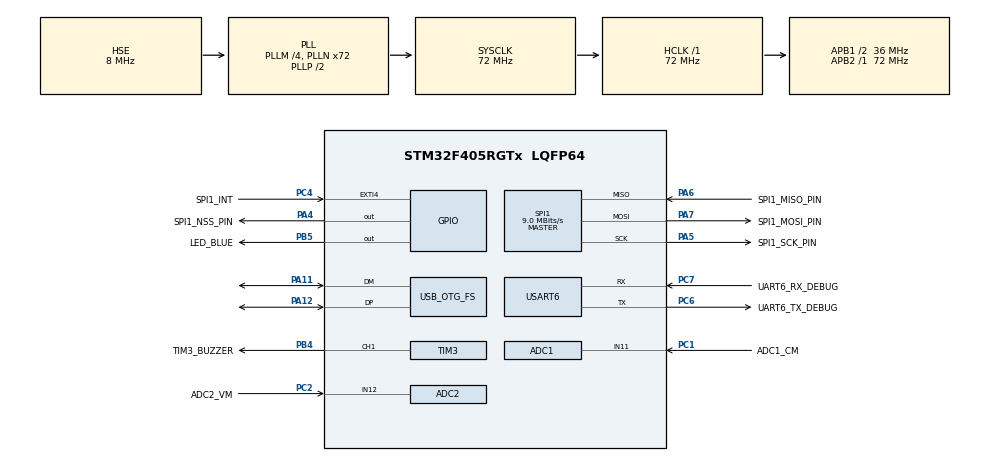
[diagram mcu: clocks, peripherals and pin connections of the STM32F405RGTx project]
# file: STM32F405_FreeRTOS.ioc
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ADC1.Channel-1\#ChannelRegularConversion=ADC_CHANNEL_11
ADC1.ContinuousConvMode=ENABLE
ADC1.DMAContinuousRequests=ENABLE
ADC1.NbrOfConversionFlag=1
ADC1.Rank-1\#ChannelRegularConversion=1
ADC1.SamplingTime-1\#ChannelRegularConversion=ADC_SAMPLETIME_480CYCLES
ADC1.master=1
ADC2.Channel-1\#ChannelRegularConversion=ADC_CHANNEL_12
ADC2.ContinuousConvMode=ENABLE
ADC2.DMAContinuousRequests=ENABLE
ADC2.NbrOfConversionFlag=1
ADC2.Rank-1\#ChannelRegularConversion=1
ADC2.SamplingTime-1\#ChannelRegularConversion=ADC_SAMPLETIME_480CYCLES
Dma.ADC1.1.Direction=DMA_PERIPH_TO_MEMORY
Dma.ADC1.1.FIFOMode=DMA_FIFOMODE_DISABLE
Dma.ADC1.1.Instance=DMA2_Stream4
Dma.ADC1.1.MemDataAlignment=DMA_MDATAALIGN_HALFWORD
Dma.ADC1.1.MemInc=DMA_MINC_ENABLE
Dma.ADC1.1.Mode=DMA_CIRCULAR
Dma.ADC1.1.PeriphDataAlignment=DMA_PDATAALIGN_HALFWORD
Dma.ADC1.1.PeriphInc=DMA_PINC_DISABLE
Dma.ADC1.1.Priority=DMA_PRIORITY_LOW
Dma.ADC2.2.Direction=DMA_PERIPH_TO_MEMORY
Dma.ADC2.2.FIFOMode=DMA_FIFOMODE_DISABLE
Dma.ADC2.2.Instance=DMA2_Stream2
Dma.ADC2.2.MemDataAlignment=DMA_MDATAALIGN_HALFWORD
Dma.ADC2.2.MemInc=DMA_MINC_ENABLE
Dma.ADC2.2.Mode=DMA_CIRCULAR
Dma.ADC2.2.PeriphDataAlignment=DMA_PDATAALIGN_HALFWORD
Dma.ADC2.2.PeriphInc=DMA_PINC_DISABLE
Dma.ADC2.2.Priority=DMA_PRIORITY_LOW
Dma.Request0=USART6_TX
Dma.Request1=ADC1
Dma.Request2=ADC2
Dma.Request3=USART6_RX
Dma.Request4=SPI1_RX
Dma.Request5=SPI1_TX
Dma.SPI1_RX.4.Direction=DMA_PERIPH_TO_MEMORY
Dma.SPI1_RX.4.FIFOMode=DMA_FIFOMODE_DISABLE
Dma.SPI1_RX.4.Instance=DMA2_Stream0
Dma.SPI1_RX.4.MemDataAlignment=DMA_MDATAALIGN_BYTE
Dma.SPI1_RX.4.MemInc=DMA_MINC_ENABLE
Dma.SPI1_RX.4.Mode=DMA_NORMAL
Dma.SPI1_RX.4.PeriphDataAlignment=DMA_PDATAALIGN_BYTE
Dma.SPI1_RX.4.PeriphInc=DMA_PINC_DISABLE
Dma.SPI1_RX.4.Priority=DMA_PRIORITY_LOW
Dma.SPI1_TX.5.Direction=DMA_MEMORY_TO_PERIPH
Dma.SPI1_TX.5.FIFOMode=DMA_FIFOMODE_DISABLE
Dma.SPI1_TX.5.Instance=DMA2_Stream3
Dma.SPI1_TX.5.MemDataAlignment=DMA_MDATAALIGN_BYTE
Dma.SPI1_TX.5.MemInc=DMA_MINC_ENABLE
Dma.SPI1_TX.5.Mode=DMA_NORMAL
Dma.SPI1_TX.5.PeriphDataAlignment=DMA_PDATAALIGN_BYTE
Dma.SPI1_TX.5.PeriphInc=DMA_PINC_DISABLE
Dma.SPI1_TX.5.Priority=DMA_PRIORITY_LOW
Dma.USART6_RX.3.Direction=DMA_PERIPH_TO_MEMORY
Dma.USART6_RX.3.FIFOMode=DMA_FIFOMODE_DISABLE
Dma.USART6_RX.3.Instance=DMA2_Stream1
Dma.USART6_RX.3.MemDataAlignment=DMA_MDATAALIGN_BYTE
Dma.USART6_RX.3.MemInc=DMA_MINC_ENABLE
Dma.USART6_RX.3.Mode=DMA_NORMAL
Dma.USART6_RX.3.PeriphDataAlignment=DMA_PDATAALIGN_BYTE
Dma.USART6_RX.3.PeriphInc=DMA_PINC_DISABLE
Dma.USART6_RX.3.Priority=DMA_PRIORITY_HIGH
Dma.USART6_TX.0.Direction=DMA_MEMORY_TO_PERIPH
Dma.USART6_TX.0.FIFOMode=DMA_FIFOMODE_DISABLE
Dma.USART6_TX.0.Instance=DMA2_Stream6
Dma.USART6_TX.0.MemDataAlignment=DMA_MDATAALIGN_BYTE
Dma.USART6_TX.0.MemInc=DMA_MINC_ENABLE
Dma.USART6_TX.0.Mode=DMA_NORMAL
Dma.USART6_TX.0.PeriphDataAlignment=DMA_PDATAALIGN_BYTE
Dma.USART6_TX.0.PeriphInc=DMA_PINC_DISABLE
Dma.USART6_TX.0.Priority=DMA_PRIORITY_HIGH
FREERTOS.INCLUDE_pcTaskGetTaskName=1
FREERTOS.INCLUDE_uxTaskGetStackHighWaterMark=1
FREERTOS.INCLUDE_uxTaskGetStackHighWaterMark2=1
FREERTOS.INCLUDE_vTaskCleanUpResources=1
FREERTOS.INCLUDE_vTaskDelayUntil=1
FREERTOS.INCLUDE_xTaskGetHandle=1
FREERTOS.INCLUDE_xTimerPendFunctionCall=1
FREERTOS.Tasks01=defaultTask,0,128,StartDefaultTask,Default,NULL,Dynamic,NULL,NULL
FREERTOS.configCHECK_FOR_STACK_OVERFLOW=1
FREERTOS.configGENERATE_RUN_TIME_STATS=1
FREERTOS.configMAX_PRIORITIES=20
FREERTOS.configTICK_RATE_HZ=1
FREERTOS.configTIMER_QUEUE_LENGTH=20
FREERTOS.configTIMER_TASK_PRIORITY=1
FREERTOS.configTIMER_TASK_STACK_DEPTH=512
FREERTOS.configUSE_APPLICATION_TASK_TAG=1
FREERTOS.configUSE_IDLE_HOOK=1
FREERTOS.configUSE_NEWLIB_REENTRANT=1
FREERTOS.configUSE_POSIX_ERRNO=1
FREERTOS.configUSE_STATS_FORMATTING_FUNCTIONS=1
FREERTOS.configUSE_TICK_HOOK=0
FREERTOS.configUSE_TIMERS=1
FREERTOS.configUSE_TRACE_FACILITY=1
Mcu.Family=STM32F4
Mcu.Name=STM32F405RGTx
Mcu.Package=LQFP64
NVIC.DMA2_Stream0_IRQn=true\:5\:0\:false\:false\:true\:true\:false\:true\:true
NVIC.DMA2_Stream1_IRQn=true\:5\:0\:false\:false\:true\:true\:false\:true\:true
NVIC.DMA2_Stream2_IRQn=true\:5\:0\:false\:false\:true\:true\:false\:true\:true
NVIC.DMA2_Stream3_IRQn=true\:5\:0\:false\:false\:true\:true\:false\:true\:true
NVIC.DMA2_Stream4_IRQn=true\:0\:0\:false\:false\:true\:false\:false\:true\:true
NVIC.DMA2_Stream6_IRQn=true\:5\:0\:false\:false\:true\:true\:false\:true\:true
NVIC.OTG_FS_IRQn=true\:5\:0\:false\:false\:true\:true\:true\:true\:true
NVIC.PriorityGroup=NVIC_PRIORITYGROUP_4
NVIC.RCC_IRQn=true\:5\:0\:false\:false\:true\:true\:true\:false\:true
NVIC.TIM7_IRQn=true\:5\:0\:false\:false\:true\:true\:true\:true\:true
NVIC.USART6_IRQn=true\:5\:0\:false\:false\:true\:true\:true\:true\:true
PA11.Mode=Device_Only
PA11.Signal=USB_OTG_FS_DM
PA12.Mode=Device_Only
PA12.Signal=USB_OTG_FS_DP
PA4.GPIO_Label=SPI1_NSS_PIN
PA4.GPIO_PuPd=GPIO_NOPULL
PA4.GPIO_Speed=GPIO_SPEED_FREQ_VERY_HIGH
PA4.PinState=GPIO_PIN_SET
PA4.Signal=GPIO_Output
PA5.GPIO_Label=SPI1_SCK_PIN
PA5.GPIO_Speed=GPIO_SPEED_FREQ_VERY_HIGH
PA5.Mode=Full_Duplex_Master
PA5.Signal=SPI1_SCK
PA6.GPIO_Label=SPI1_MISO_PIN
PA6.GPIO_Speed=GPIO_SPEED_FREQ_VERY_HIGH
PA6.Mode=Full_Duplex_Master
PA6.Signal=SPI1_MISO
PA7.GPIO_Label=SPI1_MOSI_PIN
PA7.Mode=Full_Duplex_Master
PA7.Signal=SPI1_MOSI
PB4.GPIO_Label=TIM3_BUZZER
PB4.Signal=S_TIM3_CH1
PB5.GPIO_Label=LED_BLUE
PB5.Signal=GPIO_Output
PC1.GPIO_Label=ADC1_CM
PC1.Signal=ADCx_IN11
PC2.GPIO_Label=ADC2_VM
PC2.Signal=ADCx_IN12
PC4.GPIO_Label=SPI1_INT
PC4.Signal=GPXTI4
PC6.GPIO_Label=UART6_TX_DEBUG
PC6.Mode=Asynchronous
PC6.Signal=USART6_TX
PC7.GPIO_Label=UART6_RX_DEBUG
PC7.Mode=Asynchronous
PC7.Signal=USART6_RX
PH0-OSC_IN.Mode=HSE-External-Oscillator
PH0-OSC_IN.Signal=RCC_OSC_IN
PH1-OSC_OUT.Mode=HSE-External-Oscillator
PH1-OSC_OUT.Signal=RCC_OSC_OUT
ProjectManager.HeapSize=0x200
ProjectManager.StackSize=0x400
ProjectManager.TargetToolchain=STM32CubeIDE
RCC.48MHZClocksFreq_Value=48000000
RCC.AHBFreq_Value=72000000
RCC.APB1CLKDivider=RCC_HCLK_DIV2
RCC.APB1Freq_Value=36000000
RCC.APB1TimFreq_Value=72000000
RCC.APB2Freq_Value=72000000
RCC.APB2TimFreq_Value=72000000
RCC.CortexFreq_Value=72000000
RCC.HCLKFreq_Value=72000000
RCC.HSE_VALUE=8000000
RCC.HSI_VALUE=16000000
RCC.LSE_VALUE=32768
RCC.PLLM=4
RCC.PLLN=72
RCC.PLLQ=3
RCC.SYSCLKFreq_VALUE=72000000
RCC.SYSCLKSource=RCC_SYSCLKSOURCE_PLLCLK
RCC.VCOOutputFreq_Value=144000000
SH.ADCx_IN11.0=ADC1_IN11,IN11
SH.ADCx_IN12.0=ADC2_IN12,IN12
SH.S_TIM3_CH1.0=TIM3_CH1,PWM Generation1 CH1
SPI1.BaudRatePrescaler=SPI_BAUDRATEPRESCALER_8
SPI1.CLKPhase=SPI_PHASE_2EDGE
SPI1.CLKPolarity=SPI_POLARITY_HIGH
SPI1.CalculateBaudRate=9.0 MBits/s
SPI1.Direction=SPI_DIRECTION_2LINES
SPI1.Mode=SPI_MODE_MASTER
SPI1.VirtualType=VM_MASTER
STMicroelectronics.X-CUBE-ALGOBUILD.1.3.0.LibraryCcDSPOoLibraryJjDSPOoLibrary=true
TIM3.Channel-PWM\ Generation1\ CH1=TIM_CHANNEL_1
TIM3.Period=71
TIM3.Prescaler=999
TIM3.Pulse-PWM\ Generation1\ CH1=36
TIM7.Prescaler=71
USART6.VirtualMode=VM_ASYNC
USB_DEVICE.CLASS_NAME_FS=CDC
USB_DEVICE.VirtualMode-CDC_FS=Cdc
USB_DEVICE.VirtualModeFS=Cdc_FS
USB_OTG_FS.VirtualMode=Device_Only
VP_FREERTOS_VS_CMSIS_V1.Mode=CMSIS_V1
VP_STMicroelectronics.X-CUBE-ALGOBUILD_VS_DSPOoLibraryJjLibrary_1.3.0_1.3.0.Mode=DSPOoLibraryJjLibrary
VP_TIM3_VS_ClockSourceINT.Mode=Internal
VP_TIM7_VS_ClockSourceINT.Mode=Enable_Timer
VP_USB_DEVICE_VS_USB_DEVICE_CDC_FS.Mode=CDC_FS
board=custom

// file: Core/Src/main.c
/* USER CODE BEGIN Header */
/**
  ******************************************************************************
  * @file           : main.c
  * @brief          : Main program body
  ******************************************************************************
  * @attention
  *
  * Copyright (c) 2024 STMicroelectronics.
  * All rights reserved.
  *
  * This software is licensed under terms that can be found in the LICENSE file
  * in the root directory of this software component.
  * If no LICENSE file comes with this software, it is provided AS-IS.
  *
  ******************************************************************************
  */
/* USER CODE END Header */
#include "main.h"
#include "cmsis_os.h"
#include "usb_device.h"

/* USER CODE BEGIN Includes */
#include <stdio.h>
#include <stdint.h>
#include "stm32f4xx.h"
#include "stm32f4xx_it.h"

#include "FreeRTOSConfig.h"
#include "FreeRTOS.h"
#include "task.h"
#include "config.h"
#include "platform.h"
#include "system.h"
#include "usec_time.h"
#include "led.h"
#include "stm32fxxx.h"
#include "debug.h"

#include "SEGGER_RTT.h"

#include "ICM20602.h"

/* USER CODE END Includes */

/* USER CODE BEGIN PD */

#define DEBUG_MODULE "MAIN"

/* USER CODE END PD */

ADC_HandleTypeDef hadc1;
ADC_HandleTypeDef hadc2;
DMA_HandleTypeDef hdma_adc1;
DMA_HandleTypeDef hdma_adc2;

SPI_HandleTypeDef hspi1;
DMA_HandleTypeDef hdma_spi1_rx;
DMA_HandleTypeDef hdma_spi1_tx;

TIM_HandleTypeDef htim3;
TIM_HandleTypeDef htim7;

UART_HandleTypeDef huart6;
DMA_HandleTypeDef hdma_usart6_tx;
DMA_HandleTypeDef hdma_usart6_rx;

osThreadId defaultTaskHandle;
/* USER CODE BEGIN PV */
unsigned char data[14];

unsigned long  t1=0;
unsigned long  t2=0;

extern Struct_ICM20602 ICM20602;

//uint16_t adc1Val, adc2Val;

/* USER CODE END PV */

void SystemClock_Config(void);
static void MX_GPIO_Init(void);
static void MX_DMA_Init(void);
static void MX_USART6_UART_Init(void);
static void MX_TIM7_Init(void);
static void MX_SPI1_Init(void);
static void MX_ADC1_Init(void);
static void MX_ADC2_Init(void);
static void MX_TIM3_Init(void);
void StartDefaultTask(void const * argument);

/* USER CODE BEGIN PFP */
void freertos_IntroTitle(void);

/* USER CODE END PFP */

int main(void)
{

  /* MCU Configuration--------------------------------------------------------*/

  /* Reset of all peripherals, Initializes the Flash interface and the Systick. */
  HAL_Init();

  /* Configure the system clock */
  SystemClock_Config();

  /* Initialize all configured peripherals */
  MX_GPIO_Init();
  MX_DMA_Init();
  MX_USART6_UART_Init();
  MX_TIM7_Init();
  MX_SPI1_Init();
  MX_ADC1_Init();
  MX_ADC2_Init();
  MX_TIM3_Init();
  /* USER CODE BEGIN 2 */

  debugInit();
  uartInit();
  uartDmaInit();

/*  HAL_TIM_PWM_Start(&htim3, TIM_CHANNEL_1);

  TIM3->PSC = 250;
  delay_us(30000);
  TIM3->PSC = 500;
  delay_us(30000);
  TIM3->PSC = 1000;
  delay_us(30000);

  HAL_TIM_PWM_Stop(&htim3, TIM_CHANNEL_1);
*/

//  InitTick(72000000, 1000000U);			//	Clock을 1us단위로 조정, 1ms함수 사용할 수 없음

  __HAL_UART_ENABLE_IT(&huart6, UART_IT_RXNE);

  freertos_IntroTitle();

  check_enter_bootloader();

  int err = platformInit();
  if (err != 0) {
  	    // The firmware is running on the wrong hardware. Halt
  	    while(1);
  }

  HAL_TIM_Base_Start_IT(&htim7);
  t1 = DWT->CYCCNT;
//  vTaskDelay(M2T(2000));
  delay_us(1000);	// 1002 us
//  vTaskDelay(1);	// 입력값에 상관없이 약 7us, 정상적인 동작 안됨
//  usDelay(10);
//  HAL_Delay(1);		// 1350 us
  t2 = DWT->CYCCNT;
  HAL_TIM_Base_Stop_IT(&htim7);
  //  DEBUG_PRINT("delay = %.2f(us)\n",(float)(t2-t1)/CLOCK_PER_USEC);
  DEBUG_PRINT("delay = %d(us)\n",(uint32_t)(t2-t1)/CLOCK_PER_USEC);
//  uint32_t ld = SysTick->LOAD;

//  HAL_ADC_Start_DMA(&hadc1, &adc1Val, 1);
//  HAL_ADC_Start_DMA(&hadc2, &adc2Val, 1);

  // ADC Test
/*  while(1){

	  DEBUG_PRINT("ADC Measure - Current:[%04d]\t Voltage:[%04d]\n", adc1Val, adc2Val);
	  delay_us(1000);
  }
*/
  systemLaunch();

  /* USER CODE END 2 */

  /* Create the thread(s) */
  /* definition and creation of defaultTask */
  osThreadDef(defaultTask, StartDefaultTask, osPriorityNormal, 0, 128);
  defaultTaskHandle = osThreadCreate(osThread(defaultTask), NULL);

  /* USER CODE BEGIN RTOS_THREADS */
  /* add threads, ... */
//  USER_THREADS();

  /* USER CODE END RTOS_THREADS */

  /* Start scheduler */
  osKernelStart();

  /* We should never get here as control is now taken by the scheduler */
  /* Infinite loop */
  while (1)
  {

  }
}

void SystemClock_Config(void)
{
  RCC_OscInitTypeDef RCC_OscInitStruct = {0};
  RCC_ClkInitTypeDef RCC_ClkInitStruct = {0};

  /** Configure the main internal regulator output voltage
  */
  __HAL_RCC_PWR_CLK_ENABLE();
  __HAL_PWR_VOLTAGESCALING_CONFIG(PWR_REGULATOR_VOLTAGE_SCALE1);

  /** Initializes the RCC Oscillators according to the specified parameters
  * in the RCC_OscInitTypeDef structure.
  */
  RCC_OscInitStruct.OscillatorType = RCC_OSCILLATORTYPE_HSE;
  RCC_OscInitStruct.HSEState = RCC_HSE_ON;
  RCC_OscInitStruct.PLL.PLLState = RCC_PLL_ON;
  RCC_OscInitStruct.PLL.PLLSource = RCC_PLLSOURCE_HSE;
  RCC_OscInitStruct.PLL.PLLM = 4;
  RCC_OscInitStruct.PLL.PLLN = 72;
  RCC_OscInitStruct.PLL.PLLP = RCC_PLLP_DIV2;
  RCC_OscInitStruct.PLL.PLLQ = 3;
  if (HAL_RCC_OscConfig(&RCC_OscInitStruct) != HAL_OK)
  {
    Error_Handler();
  }

  /** Initializes the CPU, AHB and APB buses clocks
  */
  RCC_ClkInitStruct.ClockType = RCC_CLOCKTYPE_HCLK|RCC_CLOCKTYPE_SYSCLK
                              |RCC_CLOCKTYPE_PCLK1|RCC_CLOCKTYPE_PCLK2;
  RCC_ClkInitStruct.SYSCLKSource = RCC_SYSCLKSOURCE_PLLCLK;
  RCC_ClkInitStruct.AHBCLKDivider = RCC_SYSCLK_DIV1;
  RCC_ClkInitStruct.APB1CLKDivider = RCC_HCLK_DIV2;
  RCC_ClkInitStruct.APB2CLKDivider = RCC_HCLK_DIV1;

  if (HAL_RCC_ClockConfig(&RCC_ClkInitStruct, FLASH_LATENCY_2) != HAL_OK)
  {
    Error_Handler();
  }
}

static void MX_ADC1_Init(void)
{

  ADC_ChannelConfTypeDef sConfig = {0};

  /** Configure the global features of the ADC (Clock, Resolution, Data Alignment and number of conversion)
  */
  hadc1.Instance = ADC1;
  hadc1.Init.ClockPrescaler = ADC_CLOCK_SYNC_PCLK_DIV2;
  hadc1.Init.Resolution = ADC_RESOLUTION_12B;
  hadc1.Init.ScanConvMode = DISABLE;
  hadc1.Init.ContinuousConvMode = ENABLE;
  hadc1.Init.DiscontinuousConvMode = DISABLE;
  hadc1.Init.ExternalTrigConvEdge = ADC_EXTERNALTRIGCONVEDGE_NONE;
  hadc1.Init.ExternalTrigConv = ADC_SOFTWARE_START;
  hadc1.Init.DataAlign = ADC_DATAALIGN_RIGHT;
  hadc1.Init.NbrOfConversion = 1;
  hadc1.Init.DMAContinuousRequests = ENABLE;
  hadc1.Init.EOCSelection = ADC_EOC_SINGLE_CONV;
  if (HAL_ADC_Init(&hadc1) != HAL_OK)
  {
    Error_Handler();
  }

  /** Configure for the selected ADC regular channel its corresponding rank in the sequencer and its sample time.
  */
  sConfig.Channel = ADC_CHANNEL_11;
  sConfig.Rank = 1;
  sConfig.SamplingTime = ADC_SAMPLETIME_480CYCLES;
  if (HAL_ADC_ConfigChannel(&hadc1, &sConfig) != HAL_OK)
  {
    Error_Handler();
  }

}

static void MX_ADC2_Init(void)
{

  ADC_ChannelConfTypeDef sConfig = {0};

  /** Configure the global features of the ADC (Clock, Resolution, Data Alignment and number of conversion)
  */
  hadc2.Instance = ADC2;
  hadc2.Init.ClockPrescaler = ADC_CLOCK_SYNC_PCLK_DIV2;
  hadc2.Init.Resolution = ADC_RESOLUTION_12B;
  hadc2.Init.ScanConvMode = DISABLE;
  hadc2.Init.ContinuousConvMode = ENABLE;
  hadc2.Init.DiscontinuousConvMode = DISABLE;
  hadc2.Init.ExternalTrigConvEdge = ADC_EXTERNALTRIGCONVEDGE_NONE;
  hadc2.Init.ExternalTrigConv = ADC_SOFTWARE_START;
  hadc2.Init.DataAlign = ADC_DATAALIGN_RIGHT;
  hadc2.Init.NbrOfConversion = 1;
  hadc2.Init.DMAContinuousRequests = ENABLE;
  hadc2.Init.EOCSelection = ADC_EOC_SINGLE_CONV;
  if (HAL_ADC_Init(&hadc2) != HAL_OK)
  {
    Error_Handler();
  }

  /** Configure for the selected ADC regular channel its corresponding rank in the sequencer and its sample time.
  */
  sConfig.Channel = ADC_CHANNEL_12;
  sConfig.Rank = 1;
  sConfig.SamplingTime = ADC_SAMPLETIME_480CYCLES;
  if (HAL_ADC_ConfigChannel(&hadc2, &sConfig) != HAL_OK)
  {
    Error_Handler();
  }

}

static void MX_SPI1_Init(void)
{

  /* SPI1 parameter configuration*/
  hspi1.Instance = SPI1;
  hspi1.Init.Mode = SPI_MODE_MASTER;
  hspi1.Init.Direction = SPI_DIRECTION_2LINES;
  hspi1.Init.DataSize = SPI_DATASIZE_8BIT;
  hspi1.Init.CLKPolarity = SPI_POLARITY_HIGH;
  hspi1.Init.CLKPhase = SPI_PHASE_2EDGE;
  hspi1.Init.NSS = SPI_NSS_SOFT;
  hspi1.Init.BaudRatePrescaler = SPI_BAUDRATEPRESCALER_8;
  hspi1.Init.FirstBit = SPI_FIRSTBIT_MSB;
  hspi1.Init.TIMode = SPI_TIMODE_DISABLE;
  hspi1.Init.CRCCalculation = SPI_CRCCALCULATION_DISABLE;
  hspi1.Init.CRCPolynomial = 10;
  if (HAL_SPI_Init(&hspi1) != HAL_OK)
  {
    Error_Handler();
  }

}

static void MX_TIM3_Init(void)
{

  TIM_ClockConfigTypeDef sClockSourceConfig = {0};
  TIM_MasterConfigTypeDef sMasterConfig = {0};
  TIM_OC_InitTypeDef sConfigOC = {0};

  htim3.Instance = TIM3;
  htim3.Init.Prescaler = 999;
  htim3.Init.CounterMode = TIM_COUNTERMODE_UP;
  htim3.Init.Period = 71;
  htim3.Init.ClockDivision = TIM_CLOCKDIVISION_DIV1;
  htim3.Init.AutoReloadPreload = TIM_AUTORELOAD_PRELOAD_DISABLE;
  if (HAL_TIM_Base_Init(&htim3) != HAL_OK)
  {
    Error_Handler();
  }
  sClockSourceConfig.ClockSource = TIM_CLOCKSOURCE_INTERNAL;
  if (HAL_TIM_ConfigClockSource(&htim3, &sClockSourceConfig) != HAL_OK)
  {
    Error_Handler();
  }
  if (HAL_TIM_PWM_Init(&htim3) != HAL_OK)
  {
    Error_Handler();
  }
  sMasterConfig.MasterOutputTrigger = TIM_TRGO_RESET;
  sMasterConfig.MasterSlaveMode = TIM_MASTERSLAVEMODE_DISABLE;
  if (HAL_TIMEx_MasterConfigSynchronization(&htim3, &sMasterConfig) != HAL_OK)
  {
    Error_Handler();
  }
  sConfigOC.OCMode = TIM_OCMODE_PWM1;
  sConfigOC.Pulse = 36;
  sConfigOC.OCPolarity = TIM_OCPOLARITY_HIGH;
  sConfigOC.OCFastMode = TIM_OCFAST_DISABLE;
  if (HAL_TIM_PWM_ConfigChannel(&htim3, &sConfigOC, TIM_CHANNEL_1) != HAL_OK)
  {
    Error_Handler();
  }
  HAL_TIM_MspPostInit(&htim3);

}

static void MX_TIM7_Init(void)
{

  TIM_MasterConfigTypeDef sMasterConfig = {0};

  htim7.Instance = TIM7;
  htim7.Init.Prescaler = 71;
  htim7.Init.CounterMode = TIM_COUNTERMODE_UP;
  htim7.Init.Period = 65535;
  htim7.Init.AutoReloadPreload = TIM_AUTORELOAD_PRELOAD_DISABLE;
  if (HAL_TIM_Base_Init(&htim7) != HAL_OK)
  {
    Error_Handler();
  }
  sMasterConfig.MasterOutputTrigger = TIM_TRGO_RESET;
  sMasterConfig.MasterSlaveMode = TIM_MASTERSLAVEMODE_DISABLE;
  if (HAL_TIMEx_MasterConfigSynchronization(&htim7, &sMasterConfig) != HAL_OK)
  {
    Error_Handler();
  }

}

static void MX_USART6_UART_Init(void)
{

  huart6.Instance = USART6;
  huart6.Init.BaudRate = 115200;
  huart6.Init.WordLength = UART_WORDLENGTH_8B;
  huart6.Init.StopBits = UART_STOPBITS_1;
  huart6.Init.Parity = UART_PARITY_NONE;
  huart6.Init.Mode = UART_MODE_TX_RX;
  huart6.Init.HwFlowCtl = UART_HWCONTROL_NONE;
  huart6.Init.OverSampling = UART_OVERSAMPLING_16;
  if (HAL_UART_Init(&huart6) != HAL_OK)
  {
    Error_Handler();
  }

}

static void MX_DMA_Init(void)
{

  /* DMA controller clock enable */
  __HAL_RCC_DMA2_CLK_ENABLE();

  /* DMA interrupt init */
  /* DMA2_Stream0_IRQn interrupt configuration */
  HAL_NVIC_SetPriority(DMA2_Stream0_IRQn, 5, 0);
  HAL_NVIC_EnableIRQ(DMA2_Stream0_IRQn);
  /* DMA2_Stream1_IRQn interrupt configuration */
  HAL_NVIC_SetPriority(DMA2_Stream1_IRQn, 5, 0);
  HAL_NVIC_EnableIRQ(DMA2_Stream1_IRQn);
  /* DMA2_Stream2_IRQn interrupt configuration */
  HAL_NVIC_SetPriority(DMA2_Stream2_IRQn, 5, 0);
  HAL_NVIC_EnableIRQ(DMA2_Stream2_IRQn);
  /* DMA2_Stream3_IRQn interrupt configuration */
  HAL_NVIC_SetPriority(DMA2_Stream3_IRQn, 5, 0);
  HAL_NVIC_EnableIRQ(DMA2_Stream3_IRQn);
  /* DMA2_Stream4_IRQn interrupt configuration */
  HAL_NVIC_SetPriority(DMA2_Stream4_IRQn, 0, 0);
  HAL_NVIC_EnableIRQ(DMA2_Stream4_IRQn);
  /* DMA2_Stream6_IRQn interrupt configuration */
  HAL_NVIC_SetPriority(DMA2_Stream6_IRQn, 5, 0);
  HAL_NVIC_EnableIRQ(DMA2_Stream6_IRQn);

}

static void MX_GPIO_Init(void)
{
  GPIO_InitTypeDef GPIO_InitStruct = {0};

  /* GPIO Ports Clock Enable */
  __HAL_RCC_GPIOH_CLK_ENABLE();
  __HAL_RCC_GPIOC_CLK_ENABLE();
  __HAL_RCC_GPIOA_CLK_ENABLE();
  __HAL_RCC_GPIOB_CLK_ENABLE();

  /*Configure GPIO pin Output Level */
  HAL_GPIO_WritePin(SPI1_NSS_PIN_GPIO_Port, SPI1_NSS_PIN_Pin, GPIO_PIN_SET);

  /*Configure GPIO pin Output Level */
  HAL_GPIO_WritePin(LED_BLUE_GPIO_Port, LED_BLUE_Pin, GPIO_PIN_RESET);

  /*Configure GPIO pin : SPI1_NSS_PIN_Pin */
  GPIO_InitStruct.Pin = SPI1_NSS_PIN_Pin;
  GPIO_InitStruct.Mode = GPIO_MODE_OUTPUT_PP;
  GPIO_InitStruct.Pull = GPIO_NOPULL;
  GPIO_InitStruct.Speed = GPIO_SPEED_FREQ_VERY_HIGH;
  HAL_GPIO_Init(SPI1_NSS_PIN_GPIO_Port, &GPIO_InitStruct);

  /*Configure GPIO pin : SPI1_INT_Pin */
  GPIO_InitStruct.Pin = SPI1_INT_Pin;
  GPIO_InitStruct.Mode = GPIO_MODE_IT_RISING;
  GPIO_InitStruct.Pull = GPIO_NOPULL;
  HAL_GPIO_Init(SPI1_INT_GPIO_Port, &GPIO_InitStruct);

  /*Configure GPIO pin : LED_BLUE_Pin */
  GPIO_InitStruct.Pin = LED_BLUE_Pin;
  GPIO_InitStruct.Mode = GPIO_MODE_OUTPUT_PP;
  GPIO_InitStruct.Pull = GPIO_NOPULL;
  GPIO_InitStruct.Speed = GPIO_SPEED_FREQ_LOW;
  HAL_GPIO_Init(LED_BLUE_GPIO_Port, &GPIO_InitStruct);

}

/* USER CODE BEGIN 4 */

char* OSVersion(void)
{
	return tskKERNEL_VERSION_NUMBER;
}

void freertos_IntroTitle(void)
{
  DEBUG_PRINT("]]]]]]]]]]]]]]]]]]]]]]]]]]]]]]]]]]]]]]]]]]]]]]]]]]]]]]]]]]]]] \n");
  DEBUG_PRINT("]]]]]]]]]]]]]]]]]]]]]]]]]]]]]]]]]]]]]]]]]]]]]]]]]]]]]]]]]]]]                     \n");
  DEBUG_PRINT("]]]]]]]]]]]]]]]]]]]]]]]]]]]]]]]]]]]]]]]]]]]]]]]]]]]]]]]]]]]                      \n");
  DEBUG_PRINT("]        ]]]]]]]]]]]]]]]]]]]]]]]]]]]]]]]]      :]]]        ]   .]]]].    :]]]]:  \n");
  DEBUG_PRINT("]        ]]]]]]]]]]]]]]]]]]]]]]]]]]]]]]]]       ]]]       ]]   ]]]]]]   :]]]]]]  \n");
  DEBUG_PRINT("]  ]]]]]]]]]]]]]]]]]]]]]]]]]]]]]]]]]]]]]]  ]]]:  ]]]]]        :]]  ]]:  ]]:  :]  \n");
  DEBUG_PRINT("]  ]]]]]]]]]  .    ]]].    :]]]].    :]]]  ]]]]  ]]]]]  ]     ]]:  :]]  ]]       \n");
  DEBUG_PRINT("]  ]]]]]]]]]       ]].      :]].      :]]  ]]]:  ]]]]] ]]     ]]    ]]  ]]]:     \n");
  DEBUG_PRINT("]       ]]]]   .]]]]]  :]]:  ]]  :]]:  ]]       :]]]]  ]]     ]]    ]]  :]]]]]:  \n");
  DEBUG_PRINT("]       ]]]]  ]]]]]]]        ]]        ]]      ]]]]]   ]]     ]]    ]]   .]]]]]: \n");
  DEBUG_PRINT("]  ]]]]]]]]]  ]]]]]]]        ]]        ]]  ]]]  .]]    ]]     ]]    ]]      :]]] \n");
  DEBUG_PRINT("]  ]]]]]]]]]  ]]]]]]]  ]]]]]]]]  ]]]]]]]]  ]]]  ]]     ]]     ]]:  :]]        ]] \n");
  DEBUG_PRINT("]  ]]]]]]]]]  ]]]]]]]   .]]: ]]   .]]: ]]  ]]]:        ]]     :]]  ]]:  ]:.  :]] \n");
  DEBUG_PRINT("]  ]]]]]]]]]  ]]]]]]].       ]].       ]]  ]]]]  ]:    ]]      ]]]]]]   ]]]]]]]: \n");
  DEBUG_PRINT("]  ]]]]]]]]]  ]]]]]]]].     :]]].     :]]  ]]]] ]]]    ]]      .]]]].   .]]]]]:  \n");
  DEBUG_PRINT("]]]]]]]]]]]]]]]]]]]]]]]]]]]]]]]]]]]]]]]]]]]]]]                                   \n");
  DEBUG_PRINT("]]]]]]]]]]]]]]]]]]]]]]]]]]]]]]]]]]]]]]]]]]]]]                                    \n");
  DEBUG_PRINT("]]]]]]]]]]]]]]]]]]]]]]]]]]]]]]]]]]]]]]]]]]]]   The Real Time Kernel \n");
  DEBUG_PRINT("]]]]]]]]]]]]]]]]]]]]]]]]]]]]]]]]]]]]]]]]]]]\n");
  DEBUG_PRINT("]]]]]]]]]]]]]]]]]]]]]]]]]]]]]]]]]]]]]]]]]]     FreeRTOS version %s\n", OSVersion());
  DEBUG_PRINT("]]]]]]]]]]]]]]]]]]]]]]]]]]]]]]]]]]]]]]]]]\n");
  DEBUG_PRINT("]]]]]]]]]]]]]]]]]]]]]]]]]]]]]]]]]]]]]]]]\n\n");
}

void vAssertCalled( const char *pcFile, unsigned int ulLine )
{
  taskDISABLE_INTERRUPTS();
  DEBUG_PRINT("\n\nAssertion failed in %s:%d\n", pcFile, ulLine); for(;;);
}

void InitTick(uint32_t HCLKFrequency, uint32_t Ticks)
{
  /* Configure the SysTick to have interrupt in 1ms time base */
  SysTick->LOAD  = (uint32_t)((HCLKFrequency / Ticks) - 1UL);  /* set reload register */
  SysTick->VAL   = 0UL;                                       /* Load the SysTick Counter Value */
  SysTick->CTRL  = SysTick_CTRL_CLKSOURCE_Msk | SysTick_CTRL_ENABLE_Msk;                   /* Enable the Systick Timer */

  CoreDebug->DEMCR |= CoreDebug_DEMCR_TRCENA_Msk; 				// 시간 측정 초기화
  DWT->CYCCNT = 0;   DWT->CTRL |= DWT_CTRL_CYCCNTENA_Msk;
}

void delay_us (uint16_t us)
{

	HAL_TIM_Base_Start_IT(&htim7);
	__HAL_TIM_SET_COUNTER(&htim7,0);  // set the counter value a 0
	while (__HAL_TIM_GET_COUNTER(&htim7) < us);  // wait for the counter to reach the us input in the parameter
	HAL_TIM_Base_Stop_IT(&htim7);
}

/*
int _write(int32_t file, uint8_t *ptr, int32_t len) {
    for(int32_t i = 0; i < len; ++i) {
    	ITM_SendChar(*ptr++); }
    return len;
}

int ITMSendChar(uint32_t ch)
{
  if (((ITM->TCR & ITM_TCR_ITMENA_Msk) != 0UL) &&
      ((ITM->TER & 1UL               ) != 0UL)   )
  {
    ITM->PORT[0U].u8 = (uint8_t)ch;
  }
  return (ch);
}

*/
/* USER CODE END 4 */

void StartDefaultTask(void const * argument)
{
  /* init code for USB_DEVICE */
  MX_USB_DEVICE_Init();
  /* USER CODE BEGIN 5 */
	DEBUG_PRINT("[TASK] StartDefaultTask is running!\n");
  /* Infinite loop */
  for(;;)
  {
    osDelay(1);
  }
  /* USER CODE END 5 */
}

void Error_Handler(void)
{
  __disable_irq();
  while (1)
  {
  }
}

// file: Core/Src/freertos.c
/* USER CODE BEGIN Header */
/**
  ******************************************************************************
  * File Name          : freertos.c
  * Description        : Code for freertos applications
  ******************************************************************************
  * @attention
  *
  * Copyright (c) 2024 STMicroelectronics.
  * All rights reserved.
  *
  * This software is licensed under terms that can be found in the LICENSE file
  * in the root directory of this software component.
  * If no LICENSE file comes with this software, it is provided AS-IS.
  *
  ******************************************************************************
  */
/* USER CODE END Header */

#include "FreeRTOS.h"
#include "task.h"
#include "main.h"

/* GetIdleTaskMemory prototype (linked to static allocation support) */
void vApplicationGetIdleTaskMemory( StaticTask_t **ppxIdleTaskTCBBuffer, StackType_t **ppxIdleTaskStackBuffer, uint32_t *pulIdleTaskStackSize );

/* GetTimerTaskMemory prototype (linked to static allocation support) */
void vApplicationGetTimerTaskMemory( StaticTask_t **ppxTimerTaskTCBBuffer, StackType_t **ppxTimerTaskStackBuffer, uint32_t *pulTimerTaskStackSize );

/* Hook prototypes */
void configureTimerForRunTimeStats(void);
unsigned long getRunTimeCounterValue(void);
void vApplicationIdleHook(void);
void vApplicationStackOverflowHook(xTaskHandle xTask, signed char *pcTaskName);

/* USER CODE BEGIN 1 */
/* Functions needed when configGENERATE_RUN_TIME_STATS is on */
__weak void configureTimerForRunTimeStats(void)
{

}

__weak unsigned long getRunTimeCounterValue(void)
{
return 0;
}
/* USER CODE END 1 */

/* USER CODE BEGIN 2 */
__weak void vApplicationIdleHook( void )
{
   /* vApplicationIdleHook() will only be called if configUSE_IDLE_HOOK is set
   to 1 in FreeRTOSConfig.h. It will be called on each iteration of the idle
   task. It is essential that code added to this hook function never attempts
   to block in any way (for example, call xQueueReceive() with a block time
   specified, or call vTaskDelay()). If the application makes use of the
   vTaskDelete() API function (as this demo application does) then it is also
   important that vApplicationIdleHook() is permitted to return to its calling
   function, because it is the responsibility of the idle task to clean up
   memory allocated by the kernel to any task that has since been deleted. */
}
/* USER CODE END 2 */

/* USER CODE BEGIN 4 */
__weak void vApplicationStackOverflowHook(xTaskHandle xTask, signed char *pcTaskName)
{
   /* Run time stack overflow checking is performed if
   configCHECK_FOR_STACK_OVERFLOW is defined to 1 or 2. This hook function is
   called if a stack overflow is detected. */
}
/* USER CODE END 4 */

/* USER CODE BEGIN GET_IDLE_TASK_MEMORY */
static StaticTask_t xIdleTaskTCBBuffer;
static StackType_t xIdleStack[configMINIMAL_STACK_SIZE];

void vApplicationGetIdleTaskMemory( StaticTask_t **ppxIdleTaskTCBBuffer, StackType_t **ppxIdleTaskStackBuffer, uint32_t *pulIdleTaskStackSize )
{
  *ppxIdleTaskTCBBuffer = &xIdleTaskTCBBuffer;
  *ppxIdleTaskStackBuffer = &xIdleStack[0];
  *pulIdleTaskStackSize = configMINIMAL_STACK_SIZE;
  /* place for user code */
}
/* USER CODE END GET_IDLE_TASK_MEMORY */

/* USER CODE BEGIN GET_TIMER_TASK_MEMORY */
static StaticTask_t xTimerTaskTCBBuffer;
static StackType_t xTimerStack[configTIMER_TASK_STACK_DEPTH];

void vApplicationGetTimerTaskMemory( StaticTask_t **ppxTimerTaskTCBBuffer, StackType_t **ppxTimerTaskStackBuffer, uint32_t *pulTimerTaskStackSize )
{
  *ppxTimerTaskTCBBuffer = &xTimerTaskTCBBuffer;
  *ppxTimerTaskStackBuffer = &xTimerStack[0];
  *pulTimerTaskStackSize = configTIMER_TASK_STACK_DEPTH;
  /* place for user code */
}
/* USER CODE END GET_TIMER_TASK_MEMORY */
